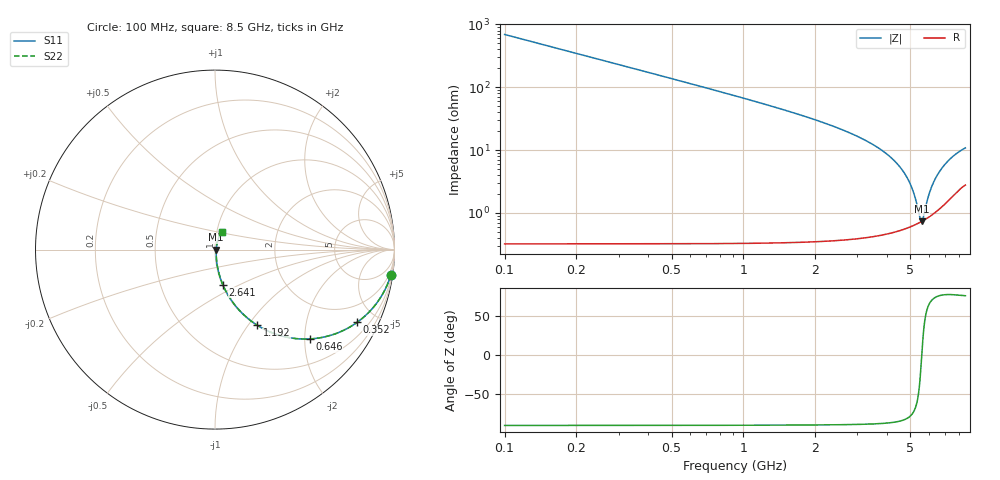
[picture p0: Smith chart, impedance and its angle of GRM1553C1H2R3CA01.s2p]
!Murata Part Number: GRM1553C1H2R3CA01
!These Parameters are Measured in Series Mode Connection
!Data Generated on Mar 30, 2021
!  o--ll--o
!Port1  Port2
!  o------o
!Operation Temp=25[degC], DC Bias Voltage=0[V]
!Freq. Start=100[MHz] Stop=9[GHz] 401[Steps]
# Hz S RI R 50
!Freq.(Hz) S11(Real) S11(Imag) S21(Real) S21(Imag) S12(Real) S12(Imag) S22(Real) S22(Imag)
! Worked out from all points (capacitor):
!   401 points, 100 MHz to 8.5 GHz, reference 50 ohm
!   read as one part in series: C = 2.3 pF near 142 MHz
!   lowest |Z| = 731 mohm at 5.581 GHz (marker M1)
!   series resonance near 5.582 GHz, so ESL is about 350 pH
!   S11 on the Smith chart (normalised r, x): 100 MHz: 1, -14; 352 MHz: 1.01, -3.92; 646 MHz: 1.01, -2.11; 1.192 GHz: 1.01, -1.11; 2.641 GHz: 1.01, -0.41; 8.5 GHz: 1.06, +0.21
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1e8  0.9795 -0.1416  0.0205 0.1416  0.0205 0.1416  0.9795 -0.1416
2.26e8  0.9031 -0.2953  0.0969 0.2953  0.0969 0.2953  0.9031 -0.2953
3.52e8  0.7928 -0.4045  0.2072 0.4045  0.2072 0.4045  0.7928 -0.4045
6.46e8  0.5277 -0.4977  0.4723 0.4977  0.4723 0.4977  0.5277 -0.4977
8.98e8  0.3613 -0.4782  0.6387 0.4782  0.6387 0.4782  0.3613 -0.4782
1.192e9  0.2366 -0.422  0.7634 0.422  0.7634 0.422  0.2366 -0.422
1.507e9  0.1558 -0.3588  0.8442 0.3588  0.8442 0.3588  0.1558 -0.3588
2.641e9  0.0434 -0.1949  0.9566 0.1949  0.9566 0.1949  0.0434 -0.1949
2.914e9  0.0328 -0.1676  0.9672 0.1676  0.9672 0.1676  0.0328 -0.1676
4.3e9  0.00924 -0.0655  0.9908 0.0655  0.9908 0.0655  0.00924 -0.0655
4.678e9  0.00738 -0.0443  0.9926 0.0443  0.9926 0.0443  0.00738 -0.0443
4.993e9  0.00672 -0.0279  0.9933 0.0279  0.9933 0.0279  0.00672 -0.0279
5.224e9  0.00667 -0.0166  0.9933 0.0166  0.9933 0.0166  0.00667 -0.0166
5.497e9  0.00705 -0.00386  0.993 0.00386  0.993 0.00386  0.00705 -0.00386
5.581e9  0.00725 -5.55e-05  0.9927 5.55e-05  0.9927 5.55e-05  0.00725 -5.55e-05
5.707e9  0.00764 0.00554  0.9924 -0.00554  0.9924 -0.00554  0.00764 0.00554
5.959e9  0.0087 0.0164  0.9913 -0.0164  0.9913 -0.0164  0.0087 0.0164
6.232e9  0.0103 0.0276  0.9897 -0.0276  0.9897 -0.0276  0.0103 0.0276
6.61e9  0.0132 0.0424  0.9868 -0.0424  0.9868 -0.0424  0.0132 0.0424
7.114e9  0.0183 0.0604  0.9817 -0.0604  0.9817 -0.0604  0.0183 0.0604
7.744e9  0.0266 0.0798  0.9734 -0.0798  0.9734 -0.0798  0.0266 0.0798
8.5e9  0.0369 0.098  0.9631 -0.098  0.9631 -0.098  0.0369 0.098
